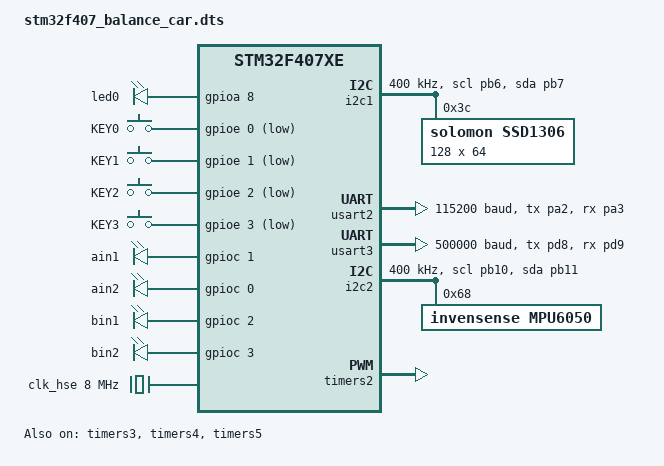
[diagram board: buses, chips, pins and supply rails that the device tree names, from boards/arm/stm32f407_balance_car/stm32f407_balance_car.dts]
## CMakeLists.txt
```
# SPDX-License-Identifier: Apache-2.0

cmake_minimum_required(VERSION 3.28.0)
set(BOARD_ROOT ${CMAKE_CURRENT_SOURCE_DIR})

# 直接 cmake 构建 (不走 west) 时模块系统不会自动加载 hal_stm32,
# 导致 board dts 里的 #include <st/f4/stm32f407z(e-g)tx-pinctrl.dtsi> 解析不到.
# 这里手动把 hal_stm32 模块的 dts 根注册进 DTS_ROOT, 让 pinctrl 定义可见.
list(APPEND DTS_ROOT "$ENV{ZEPHYR_BASE}/../modules/hal/stm32")

find_package(Zephyr REQUIRED HINTS $ENV{ZEPHYR_BASE})
project(blinky)

target_sources(app PRIVATE
    src/main.c
    src/menu/menu_input.c
    src/menu/menu.c
    src/menu/OLED_Menu.c
    src/menu/font.c
    src/ano/ano_true.c
    src/ano/ano_base.c
    src/ano/ano_board_init.c
    src/ano/ano_device/ano_device_com.c
    src/uart/uart_base.c
    src/uart/uart_it.c
    src/uart/uart_dma.c
    src/uart/uart_board_init.c
    src/my_ring/my_ring.c
    src/mpu6050/mpu6050.c
    src/mpu6050/euler.c
    src/mess/value_to_str.c
    src/encode/encode.c
    src/motor/tb6612.c
    src/key/key.c
    src/simulink/ARMCortex-M/blinky/blinky.c
    src/simulink/ARMCortex-M/blinky/rtmodel.c
    src/simulink/ARMCortex-M/blinky/blinky_data.c
    src/debug/debug.c
    
)

target_include_directories(app PRIVATE
    src
    src/menu
    src/ano
    src/ano/ano_device
    src/uart
    src/my_ring
    src/mpu6050
    src/mess
    src/encode
    src/motor
    src/key
    src/simulink/ARMCortex-M/blinky
    src/debug
)
```

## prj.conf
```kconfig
CONFIG_SYS_CLOCK_EXISTS=y
CONFIG_DEBUG=y
CONFIG_SYS_CLOCK_TICKS_PER_SEC=1000

######  OLED #####
#SSD1306

#enable I2c
CONFIG_I2C=y

#enable SSD1306 display
CONFIG_SSD1306=y

#enable display subsystem
CONFIG_DISPLAY=y

#cfb 字符帧缓冲(提供 cfb_* API)
CONFIG_CHARACTER_FRAMEBUFFER=y

# 禁用内置默认字体，只用自己的
CONFIG_CHARACTER_FRAMEBUFFER_USE_DEFAULT_FONTS=n

#cfb 内部用 k_malloc 分配帧缓冲，需要内核堆
CONFIG_HEAP_MEM_POOL_SIZE=2048


#MPU6050
CONFIG_SENSOR=y
CONFIG_MPU6050=y

#如果使用lvgl
#CONFIG_LVGL=y

#按键 Input Subsystem(可选)

CONFIG_INPUT=y
CONFIG_INPUT_GPIO_KEYS=y

#shell(i2c scan调试)
# CONFIG_SHELL=y
# CONFIG_I2C_SHELL=y


#串口
CONFIG_SERIAL=y
CONFIG_UART_INTERRUPT_DRIVEN=y      #中断驱动
CONFIG_DMA=y                        #开启DMA
CONFIG_DMA_STM32=y
CONFIG_RING_BUFFER=y                #环形缓冲区 (IT 模式 TX)
CONFIG_UART_INTERRUPT_DRIVEN=y      #uart_it 开启
CONFIG_UART_ASYNC_API=y             #异步开启

#断言支持 调试状态下使用 控制台调试
CONFIG_ASSERT=y
# INF 级别
CONFIG_LOG_DEFAULT_LEVEL=3          
CONFIG_LOG=y
CONFIG_LOG_BACKEND_UART=y
CONFIG_CONSOLE=y

#开启编码器
CONFIG_QDEC_STM32=y

# PWM 开启motor
CONFIG_PWM=y
CONFIG_GPIO=y
```

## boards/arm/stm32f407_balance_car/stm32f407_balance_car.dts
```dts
/dts-v1/;

#include <arm/armv7-m.dtsi>
#include <st/f4/stm32f407Xe.dtsi>
#include <st/f4/stm32f407z(e-g)tx-pinctrl.dtsi>

#include <dt-bindings/gpio/gpio.h>
#include <dt-bindings/i2c/i2c.h>
#include <dt-bindings/input/input-event-codes.h>
#include <dt-bindings/clock/stm32f4_clock.h>
#include <dt-bindings/pwm/pwm.h>
#include <dt-bindings/pwm/stm32_pwm.h>
#include <dt-bindings/dma/stm32_dma.h>
#include <dt-bindings/reset/stm32f2_4_7_reset.h>
#include <dt-bindings/sensor/qdec_stm32.h>
#include <dt-bindings/power/stm32_pwr.h>

#include <zephyr/dt-bindings/dma/stm32_dma.h>

/ {
	leds {
		compatible = "gpio-leds";

		led0: led_0 {
			gpios = <&gpioa 8 GPIO_ACTIVE_HIGH>;
		};
	};

	keys {
		compatible = "gpio-keys";

		key0: key_0 {
			gpios = <&gpioe 0 (GPIO_PULL_UP | GPIO_ACTIVE_LOW)>;
			label = "KEY0";
			zephyr,code = <INPUT_KEY_0>;
		};

		key1: key_1 {
			gpios = <&gpioe 1 (GPIO_PULL_UP | GPIO_ACTIVE_LOW)>;
			label = "KEY1";
			zephyr,code = <INPUT_KEY_1>;
		};

		key2: key_2 {
			gpios = <&gpioe 2 (GPIO_PULL_UP | GPIO_ACTIVE_LOW)>;
			label = "KEY2";
			zephyr,code = <INPUT_KEY_2>;
		};

		key3: key_3 {
			gpios = <&gpioe 3 (GPIO_PULL_UP | GPIO_ACTIVE_LOW)>;
			label = "KEY3";
			zephyr,code = <INPUT_KEY_3>;
		};
	};

	/* motor_a_gpios 是父节点，它只是容器，没有 gpios 属性 */
	/* ain1、ain2、bin1、bin2 是子节点，它们才有 gpios 属性 */
	/* 因此需要使用DEVICE_DT_GET DT 指的是DEVICE_TREE的缩写 */
	/* DEVICE_DT_GET(DT_LABEL(ain1)) */
	motor_a_gpios: motor_a_gpios {
		compatible = "gpio-leds";

		/* ain2: 是节点标签（node label） 用于在其他地方引用这个节点，比如 &ain2 */
		/* ain2 { ... } 是节点名（node name） */
		ain1: ain1 {
			/* PC1 */
			gpios = <&gpioc 1 GPIO_ACTIVE_HIGH>;
		};

		ain2: ain2 {
			/* PC0 */
			gpios = <&gpioc 0 GPIO_ACTIVE_HIGH>;
		};
	};

	motor_b_gpios: motor_b_gpios {
		compatible = "gpio-leds";

		bin1: bin1 {
			gpios = <&gpioc 2 GPIO_ACTIVE_HIGH>;
		};

		bin2: bin2 {
			gpios = <&gpioc 3 GPIO_ACTIVE_HIGH>;
		};
	};

	/* aliases 是 Device Tree（设备树） 中的一个节点，它的作用是给设备节点起一个简短的别名，方便在代码中引用。 */
	/* DEVICE_DT_GET(DT_ALIAS(ain1)) 中的 DT_ALIAS */
	aliases {
		led0 = &led0;
		encodera = &qdec_e1;
		encoderb = &qdec_e2;
		tim5 = &counter5;
	};

	chosen {
		zephyr,sram = &sram0;
		zephyr,flash = &flash0;
		zephyr,display = &ssd1306;
		zephyr,console = &usart2;    /* 这里可以修改调试串口是usart2 */
	};
};

&led0 {
	status = "okay";
};

&clk_lsi {
	status = "okay";
};

&clk_hse {
	clock-frequency = <DT_FREQ_M(8)>;
	status = "okay";
};

&pll {
	div-m = <8>;
	mul-n = <336>;
	div-p = <2>;
	div-q = <7>;
	clocks = <&clk_hse>;
	status = "okay";
};

&rcc {
	clocks = <&pll>;
	clock-frequency = <DT_FREQ_M(168)>;
	ahb-prescaler = <1>;
	apb1-prescaler = <4>;
	apb2-prescaler = <2>;
};

&i2c1 {
	clock-frequency = <I2C_BITRATE_FAST>;
	pinctrl-0 = <&i2c1_scl_pb6 &i2c1_sda_pb7>;
	pinctrl-names = "default";
	status = "okay";

	ssd1306: ssd1306@3c {
		compatible = "solomon,ssd1306";
		reg = <0x3c>;
		width = <128>;
		height = <64>;

		segment-offset = <0>;
		page-offset = <0>;
		display-offset = <0>;
		multiplex-ratio = <63>;

		segment-remap;
		com-invdir;
		prechargep = <0x22>;
	};
};

&dma1 {
	status = "okay";
};

&usart2 {
	pinctrl-0 = <&usart2_tx_pa2 &usart2_rx_pa3>;
	pinctrl-names = "default";
	current-speed = <115200>;
	// dmas = <&dma1 6 4 STM32_DMA_PERIPH_TX STM32_DMA_FIFO_FULL>,
	//        <&dma1 5 4 STM32_DMA_PERIPH_RX STM32_DMA_FIFO_FULL>;
	// dma-names = "tx", "rx";
	status = "okay";
};

&usart3 {
	pinctrl-0 = <&usart3_tx_pd8 &usart3_rx_pd9>;
	pinctrl-names = "default";
	current-speed = <500000>;
	status = "okay";
};

&i2c2 {
	status = "okay";
	clock-frequency = <I2C_BITRATE_FAST>;
	pinctrl-0 = <&i2c2_scl_pb10 &i2c2_sda_pb11>;
	pinctrl-names = "default";

	mpu6050: mpu6050@68 {
		compatible = "invensense,mpu6050";
		reg = <0x68>;
		status = "okay";
		accel-fs = <2>;		/* +-2g */
		gyro-fs = <250>;	/* +-250°/s */
		smplrt-div = <0>; 	/* 8KHZ (1 + 0) = 8Khz （陀螺仪） 1Khz 加速度计 */
	};
};

&timers2 {
	status = "okay";
	st,prescaler = <84>;

	pwm2: pwm {
		/* compatbile 需要这样写 */
		compatible = "st,stm32-pwm";
		status = "okay";
		pinctrl-0 = <&tim2_ch1_pa0 &tim2_ch2_pa1>;
		pinctrl-names = "default";
		/* 4 通道 PWM */
		#pwm-cells = <3>;
	};
};
/* 编码器1 ： TIM3 （PA6，PA7） */

&timers3 {
	status = "okay";
	st,prescaler = <0>;

	qdec_e1: qdec {
		compatible = "st,stm32-qdec";  /* mpatible = "st,stm32-qdec" 表示："我是一个 STM32 的 Quadrature Decoder（正交编码器），请用 st,stm32-qdec 这个驱动来初始化我。" */
		status = "okay";
		pinctrl-0 = <&tim3_ch1_pa6 &tim3_ch2_pa7>;
		pinctrl-names = "default";
		/* 输入滤波 */
		st,input-filter-level = <FDIV32_N8>;
		/* 编码器每转脉冲数 */
		st,counts-per-revolution = <44>;
		/* 编码器模式: 0x1=模式1，0x2 = 模式2，-x3=模式3 (默认，x4计数) */
		st,encoder-mode = <3>;
	};
};

/* 编码器2 ： TIM4 (PD12 , PD13) */

&timers4 {
	status = "okay";
	st,prescaler = <0>;

	qdec_e2: qdec {
		compatible = "st,stm32-qdec";
		status = "okay";
		pinctrl-0 = <&tim4_ch1_pd12 &tim4_ch2_pd13>;
		pinctrl-names = "default";
		st,input-filter-level = <FDIV32_N8>;
		st,counts-per-revolution = <44>;
		st,encoder-mode = <3>;
	};
};

&timers5 {
	status = "okay";
	st,prescaler = <83>;
	st,countermode = <0>;

	counter5: counter {
		compatible = "st,stm32-counter";
		status = "okay";
		label = "COUNTER_5";
	};
};
```

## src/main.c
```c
/*
 * Copyright (c) 2016 Intel Corporation
 *
 * SPDX-License-Identifier: Apache-2.0
 */

#include <arm_acle.h>
#include <stdbool.h>
#include <stdint.h>
#include <stdio.h>
#include <string.h>
#include <sys/_intsup.h>
#include <zephyr/kernel.h>
#include <zephyr/device.h>
#include <zephyr/display/cfb.h>
#include <zephyr/sys/printk.h>
#include "OLED_Menu.h"
#include "debug/debug.h"
#include "encode/encode.h"
#include "menu/menu.h"
#include "motor/tb6612.h"
#include "mpu6050/ahrs_madgwick.h"
#include "mpu6050/euler.h"
#include "simulink/ARMCortex-M/blinky/blinky.h"
#include "simulink/ARMCortex-M/blinky/rtmodel.h"
#include "uart_base.h"
#include "value_to_str.h"
#include "zephyr/drivers/counter.h"
#include "zephyr/kernel/thread.h"
#include "zephyr/kernel/thread_stack.h"
#include "zephyr/syscalls/kernel.h"
#include "uarts.h"


// static const struct gpio_dt_spec led0 = GPIO_DT_SPEC_GET(DT_ALIAS(led0), gpios);
#define RAD_TO_DEG 57.295779513082320876798154814105
/* 1ms 任务：euler_update() 做 AHRS 解算，可能有浮点运算 */
static K_THREAD_STACK_DEFINE(s_stack_1ms_high, 2048);   /* 2KB 足够 */

/* 1ms 低优先级任务：简单任务 */
static K_THREAD_STACK_DEFINE(s_stack_10ms_high, 2048);   /* 1KB */

/* 10ms 任务：ano_check_data + com_check_to_send + menu */
static K_THREAD_STACK_DEFINE(s_stack_5ms_high, 4096); /* 1.5KB */

/* 10ms 低优先级任务 */
static K_THREAD_STACK_DEFINE(s_stack_5ms_low, 1024);    /* 1KB */

static K_THREAD_STACK_DEFINE(s_stack_20ms_high, 1024);    /* 1KB */

static K_THREAD_STACK_DEFINE(s_stack_100ms_high, 1024);    /* 1KB */

static struct k_thread s_thread_1ms_high;
static struct k_thread s_thread_10ms_high;
static struct k_thread s_thread_5ms_high;
static struct k_thread s_thread_5ms_low;
static struct k_thread s_thread_20ms_high;
static struct k_thread s_thread_100ms_high;

//信号量定义
static K_SEM_DEFINE(tim5_sem, 0, 1);


static const struct device *tim5_dev_pst;

static void my_1ms_isr(const struct device *dev,void* user_data);


static void my_1ms_isr(const struct device *dev,void* user_data)
{
	k_sem_give(&tim5_sem);
}

int tim5_1ms_init(void)
{
	int ret;
    struct counter_top_cfg top_cfg;
    uint32_t freq;
    uint32_t ticks;

    /* 1. 获取设备 */
    tim5_dev_pst = DEVICE_DT_GET(DT_ALIAS(tim5));
    
    /* 2. 检查设备是否就绪 —— 这是必须的！ */
    if (!device_is_ready(tim5_dev_pst)) {
        printk("TIM5 device not ready!\n");
        return -ENODEV;
    }

	freq = counter_get_frequency(tim5_dev_pst);
	printk("TIM5 frequency: %u Hz\n", freq);

	ticks = counter_us_to_ticks(tim5_dev_pst, 1000);  /* 1000us = 1ms */
    printk("TIM5 1ms ticks: %u\n", ticks);

    /* 5. 配置 top value（非 const，因为 ticks 是动态计算的） */

    top_cfg.ticks = ticks;
    top_cfg.callback = my_1ms_isr;
    top_cfg.user_data = NULL;
    top_cfg.flags = 0;  /* 默认：计数器归零，触发回调 */

	
    ret = counter_start(tim5_dev_pst);
    if (ret) {
        printk("counter_start failed: %d\n", ret);
        return ret;
    }

    /* 7. 设置 top value —— 这会产生周期中断！ */
    ret = counter_set_top_value(tim5_dev_pst, &top_cfg);
    if (ret) {
        printk("counter_set_top_value failed: %d\n", ret);
        return ret;
    }

    printk("TIM5 1ms periodic interrupt started\n");
    return 0;
}

SYS_INIT(tim5_1ms_init, APPLICATION, 10);



static void s_task_1ms_high(void *p1,void *p2,void *p3)
{
	while (1) {

		k_sem_take(&tim5_sem, K_FOREVER);
		blinky_step(0);
		static uint32_t s_last_tick_ul = 0;
		uint32_t current_tick_ul = k_uptime_get_32();
		

		if (current_tick_ul != s_last_tick_ul) {
			s_last_tick_ul = current_tick_ul;
			motor_set(g_motor_b_pst, rtY.motor_b_pwm);
		}
		// ano_check_data(g_com_ano_pst);
	}
}

static void s_task_10ms_high(void *p1,void *p2,void *p3)
{
	while (1) {
		struct encoder_data_t motor_a_st;
		struct encoder_data_t motor_b_st;
		encoder_get_data(g_encoder_a_pst, &motor_a_st);
		encoder_get_data(g_encoder_b_pst, &motor_b_st);
		rtU.motor_a_speed = motor_a_st.rpm_f;
		rtU.motor_b_speed = motor_b_st.rpm_f;	
		blinky_step(2);
		k_msleep(9);
	}
}

static void s_task_5ms_high(void *p1,void *p2,void *p3)
{
	while (1) {

		
		euler_update();
		encoder_update_all();
		blinky_step(1);

		motor_set(g_motor_a_pst, rtY.motor_a_pwm);
		motor_set(g_motor_b_pst, rtY.motor_b_pwm);

		static uint32_t s_last_tick_ul = 0;
		uint32_t current_tick_ul = k_uptime_get_32();
		

		if (current_tick_ul != s_last_tick_ul) {
			s_last_tick_ul = current_tick_ul;
			motor_set(g_motor_b_pst, rtY.motor_b_pwm);
		}
		


		k_msleep(4);

	}
}

static void s_task_5ms_low(void *p1,void *p2,void *p3)
{

	while (1) {
    	menu_request_refresh(g_mpu6050_euler_oled_pst);
		char buf[150];
		
#if SIMULINK_DEBUG

		char accx_pc[10];
		char accy_pc[10];
		char accz_pc[10];
		char gyrox_pc[10];
		char gyroy_pc[10];
		char time_pc[10];
		char pitch_pc[10];
		char target_angle_pc[10];

		float_to_str(accx_pc, sizeof(accx_pc), rtU.accx , 2);
		float_to_str(accy_pc, sizeof(accy_pc), rtU.accy, 2);
		float_to_str(accz_pc, sizeof(accz_pc), rtU.accz , 2);
		float_to_str(gyrox_pc, sizeof(gyrox_pc), rtU.gyrox , 2);
		float_to_str(gyroy_pc, sizeof(gyroy_pc), rtU.gyroy , 2);
		float_to_str(time_pc, sizeof(time_pc), k_uptime_get_32() * 0.001f , 3);
		float_to_str(pitch_pc, sizeof(pitch_pc), rtY.pitch ,2);
		float_to_str(target_angle_pc, sizeof(target_angle_pc), rtY.angle_target ,2);

		snprintf(buf, sizeof(buf), "%s,%s,%s,%s,%s,%s,%d,%d,%s,%d,%s\n",time_pc,accx_pc,accy_pc,accz_pc,gyrox_pc,gyroy_pc,(int32_t)rtU.motor_a_speed,(int32_t)rtU.motor_b_speed,pitch_pc,rtY.motor_a_pwm,target_angle_pc);
		
#else
		char pitch_pc[10];
		char pitch_target_pc[10];
		char target_speed_pc[10];
		char time_pc[10];
		char e_factor_pc[10];
		char ec_factor_pc[10];
		char ec_raw_pc[10];
		char bal_kp_fuzzy_pc[10];
		char bal_ki_fuzzy_pc[10];
		char bal_kd_fuzzy_pc[10];
		char bal_integral_pc[10];
		char speed_pc[10];

		float_to_str(pitch_pc, sizeof(pitch_pc), rtY.pitch , 2);
		float_to_str(target_speed_pc, sizeof(target_speed_pc), rtU.target_speed , 2);
		float_to_str(time_pc, sizeof(time_pc), k_uptime_get_32() * 0.001f , 3);
		float_to_str(pitch_target_pc, sizeof(pitch_target_pc), rtY.angle_target , 2);
		float_to_str(e_factor_pc, sizeof(e_factor_pc), rtY.e_factor , 2);
		float_to_str(ec_factor_pc, sizeof(ec_factor_pc), rtY.ec_factor , 2);
		float_to_str(ec_raw_pc, sizeof(ec_raw_pc), rtY.ec_raw , 2);
		float_to_str(bal_kp_fuzzy_pc, sizeof(bal_kp_fuzzy_pc), rtY.bal_kp_fuzzy , 2);
		float_to_str(bal_ki_fuzzy_pc, sizeof(bal_ki_fuzzy_pc),rtY.bal_ki_fuzzy, 2);
		float_to_str(bal_kd_fuzzy_pc, sizeof(bal_kd_fuzzy_pc),rtY.bal_kd_fuzzy , 2);
		float_to_str(speed_pc, sizeof(speed_pc),rtY.speed_avg_f , 2);
		float_to_str(bal_integral_pc, sizeof(bal_integral_pc),rtY.bal_integral_f , 2);

		snprintf(buf,sizeof(buf),"%s,%s,%s,%d,%s,%s,%d,%s,%s,%s,%s,%s,%s,%s\n",time_pc,pitch_pc,pitch_target_pc,rtY.motor_a_pwm,speed_pc,target_speed_pc,rtY.running_success_flag,e_factor_pc,ec_factor_pc,ec_raw_pc,bal_kp_fuzzy_pc,bal_ki_fuzzy_pc,bal_kd_fuzzy_pc,bal_integral_pc);
		#endif
		uart_transmit(g_uart2_pst, buf, strlen(buf));
		
		menu_task_v();
		k_msleep(4);
	}
}

static void s_task_20_ms_high(void* p1,void *p2,void* p3)
{
	while (1) {

		blinky_step3();
		k_msleep(19);
	}
}

static void s_task_100ms_high(void *p1,void *p2,void *p3)
{
	while (1) {		
		
		debug_par_check();
		k_msleep(99);
	}
}




int main(void)
{
	blinky_initialize();
	k_thread_create(&s_thread_1ms_high, s_stack_1ms_high, sizeof(s_stack_1ms_high), s_task_1ms_high, NULL, NULL, NULL, K_PRIO_PREEMPT(2), 0, K_NO_WAIT);
	k_thread_create(&s_thread_5ms_high, s_stack_5ms_high, sizeof(s_stack_5ms_high), s_task_5ms_high, NULL, NULL, NULL, K_PRIO_PREEMPT(4), 0, K_NO_WAIT);
	k_thread_create(&s_thread_10ms_high,  s_stack_10ms_high , sizeof(s_stack_10ms_high) , s_task_10ms_high , NULL, NULL, NULL, K_PRIO_PREEMPT(5), 0, K_NO_WAIT);
	k_thread_create(&s_thread_20ms_high,  s_stack_20ms_high , sizeof(s_stack_20ms_high) , s_task_20_ms_high , NULL, NULL, NULL, K_PRIO_PREEMPT(6), 0, K_NO_WAIT);
	k_thread_create(&s_thread_5ms_low,  s_stack_5ms_low , sizeof(s_stack_5ms_low) , s_task_5ms_low , NULL, NULL, NULL, K_PRIO_PREEMPT(10), 0, K_NO_WAIT);
	k_thread_create(&s_thread_100ms_high,  s_stack_100ms_high , sizeof(s_stack_100ms_high) , s_task_100ms_high , NULL, NULL, NULL, K_PRIO_PREEMPT(11), 0, K_NO_WAIT);
	while (1) {
		k_sleep(K_MSEC(1000));
	}
	return 0;
}
```
